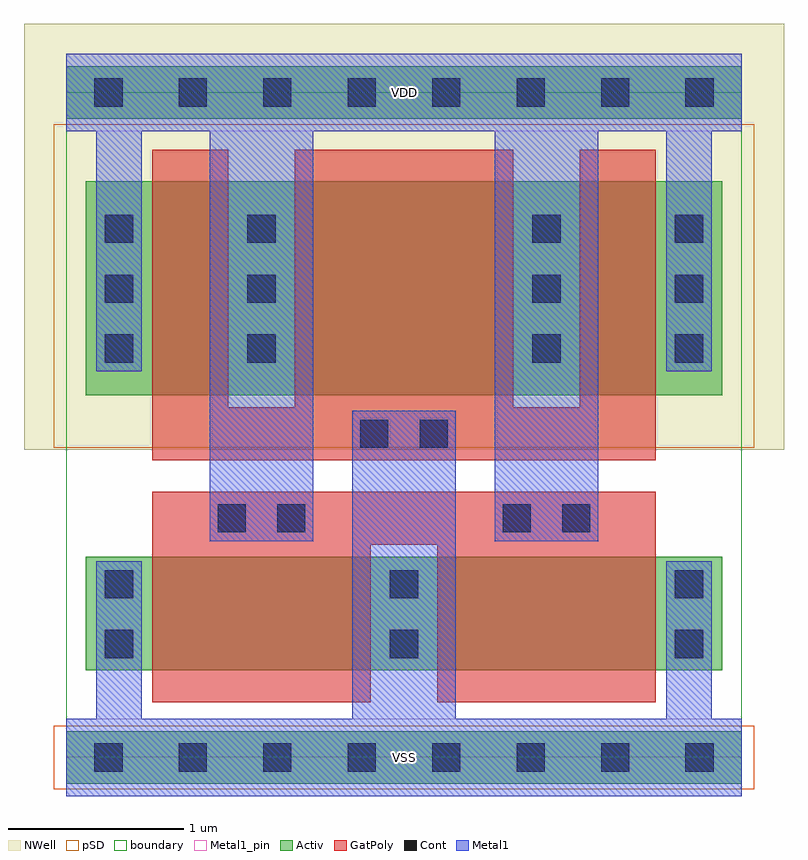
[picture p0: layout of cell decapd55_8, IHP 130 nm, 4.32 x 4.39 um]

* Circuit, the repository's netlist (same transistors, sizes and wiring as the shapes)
* decapd55_8, decap dense SG13CMOS5L, CDL pour le LVS KLayout
.SUBCKT decapd55_8 VDD VSS
*.PININFO VDD:B VSS:B
MN0 VSS VDD VSS VSS sg13_lv_nmos m=1 w=1.290u l=1.240u ng=2
MP0 VDD VSS VDD VDD sg13_lv_pmos m=1 w=1.215u l=1.240u ng=1
MP1 VDD VSS VDD VDD sg13_lv_pmos m=1 w=2.430u l=0.430u ng=2
.ENDS

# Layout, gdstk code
import gdstk
lib = gdstk.Library(unit=1e-6, precision=1e-09)
def R(c, l, rs):  # rectangles x0, y0, x1, y1
    for r in rs: c.add(gdstk.rectangle(r[:2], r[2:], *l))
def A(c, l, x, y, w, h, nx, ny, dx, dy):  # array of equal rectangles
    R(c, l, [(x+i*dx, y+j*dy, x+i*dx+w, y+j*dy+h) for i in range(nx) for j in range(ny)])
Activ = (1, 0)
GatPoly = (5, 0)
Cont = (6, 0)
Metal1 = (8, 0)
Metal1_pin = (8, 2)
pSD = (14, 0)
NWell = (31, 0)
boundary = (189, 4)

decapd55_8 = lib.new_cell('decapd55_8')
R(decapd55_8, Activ, [(0,-0.15,3.84,0.15), (0.11,0.495,3.73,1.14), (0.11,2.06,3.73,3.275), (0,3.63,3.84,3.93)])
R(decapd55_8, GatPoly, [(0.49,0.315,1.73,1.51), (2.11,0.315,3.35,1.51), (0.49,1.21,3.35,1.51), (0.49,1.69,3.35,1.99), (0.49,1.69,0.92,3.455), (1.3,1.69,2.54,3.455), (2.92,1.69,3.35,3.455)])
A(decapd55_8, Cont, 0.16, -0.08, 0.16, 0.16, 8, 2, 0.48, 3.78)
A(decapd55_8, Cont, 0.22, 0.565, 0.16, 0.16, 3, 2, 1.62, 0.34)
A(decapd55_8, Cont, 0.22, 2.245, 0.16, 0.16, 1, 3, 0, 0.34)
A(decapd55_8, Cont, 1.03, 2.245, 0.16, 0.16, 1, 3, 0, 0.34)
A(decapd55_8, Cont, 2.65, 2.245, 0.16, 0.16, 1, 3, 0, 0.34)
A(decapd55_8, Cont, 3.46, 2.245, 0.16, 0.16, 1, 3, 0, 0.34)
R(decapd55_8, Cont, [(0.86,1.28,1.02,1.44), (1.2,1.28,1.36,1.44), (2.48,1.28,2.64,1.44), (2.82,1.28,2.98,1.44), (1.67,1.76,1.83,1.92), (2.01,1.76,2.17,1.92)])
R(decapd55_8, Metal1, [(0,-0.22,3.84,0.22), (0.17,0,0.43,1.115), (1.625,0,2.215,1.97), (3.41,0,3.67,1.115), (0.815,1.23,1.405,3.78), (2.435,1.23,3.025,3.78), (0.17,2.195,0.43,3.78), (3.41,2.195,3.67,3.78), (0,3.56,3.84,4)])
R(decapd55_8, Metal1_pin, [(0,-0.22,3.84,0.22), (0,3.56,3.84,4)])
R(decapd55_8, pSD, [(-0.07,-0.18,3.91,0.18), (-0.07,1.76,3.91,3.6)])
R(decapd55_8, NWell, [(-0.24,1.75,4.08,4.17)])
R(decapd55_8, boundary, [(0,0,3.84,3.78)])
decapd55_8.add(gdstk.Label('VSS', (1.92,0), layer=8, texttype=25))
decapd55_8.add(gdstk.Label('VDD', (1.92,3.78), layer=8, texttype=25))

lib.write_gds('decapd55_8.gds')
